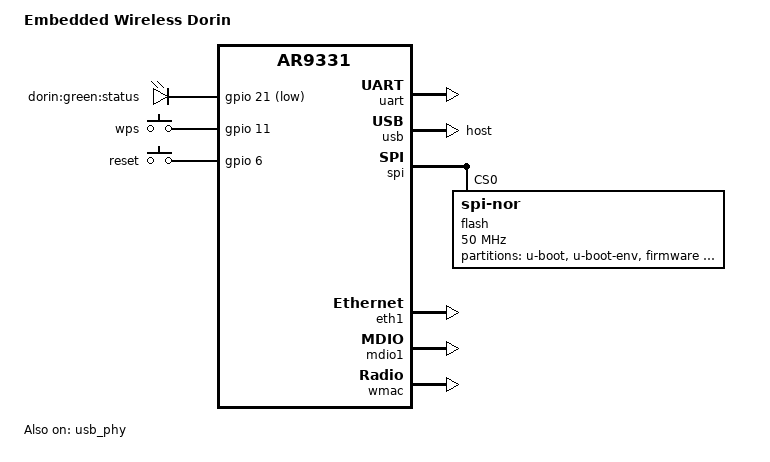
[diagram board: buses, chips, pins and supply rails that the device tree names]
// SPDX-License-Identifier: GPL-2.0-or-later OR MIT
/dts-v1/;

#include <dt-bindings/gpio/gpio.h>
#include <dt-bindings/input/input.h>

#include "ar9331.dtsi"

/ {
	model = "Embedded Wireless Dorin";
	compatible = "embeddedwireless,dorin", "qca,ar9331";

	aliases {
		led-boot = &led_status;
		led-failsafe = &led_status;
		led-running = &led_status;
		led-upgrade = &led_status;
		serial0 = &uart;
	};

	leds {
		compatible = "gpio-leds";

		led_status: status {
			label = "dorin:green:status";
			gpios = <&gpio 21 GPIO_ACTIVE_LOW>;
		};
	};

	keys {
		compatible = "gpio-keys";

		wps {
			label = "wps";
			linux,code = <KEY_WPS_BUTTON>;
			gpios = <&gpio 11 GPIO_ACTIVE_HIGH>;
		};

		reset {
			label = "reset";
			linux,code = <KEY_RESTART>;
			gpios = <&gpio 6 GPIO_ACTIVE_HIGH>;
		};
	};
};

&uart {
	status = "okay";
};

&gpio {
	status = "okay";
};

&usb {
	dr_mode = "host";
	status = "okay";
};

&usb_phy {
	status = "okay";
};

&spi {
	status = "okay";

	num-chipselects = <1>;

	flash@0 {
		compatible = "jedec,spi-nor";
		spi-max-frequency = <50000000>;
		reg = <0>;

		partitions {
			compatible = "fixed-partitions";
			#address-cells = <1>;
			#size-cells = <1>;

			partition@0 {
				label = "u-boot";
				reg = <0x000000 0x040000>;
				read-only;
			};

			partition@1 {
				label = "u-boot-env";
				reg = <0x040000 0x010000>;
			};

			partition@2 {
				compatible = "denx,uimage";
				label = "firmware";
				reg = <0x050000 0xfa0000>;
			};

			art: partition@3 {
				label = "art";
				reg = <0xff0000 0x010000>;
				read-only;
			};
		};
	};
};

&eth1 {
	status = "okay";

	mtd-mac-address = <&art 0x1002>;
	mtd-mac-address-increment-byte = <3>;
	mtd-mac-address-increment = <0x40>;
};

&mdio1 {
	status = "okay";
};

&wmac {
	status = "okay";

	mtd-cal-data = <&art 0x1000>;
};
